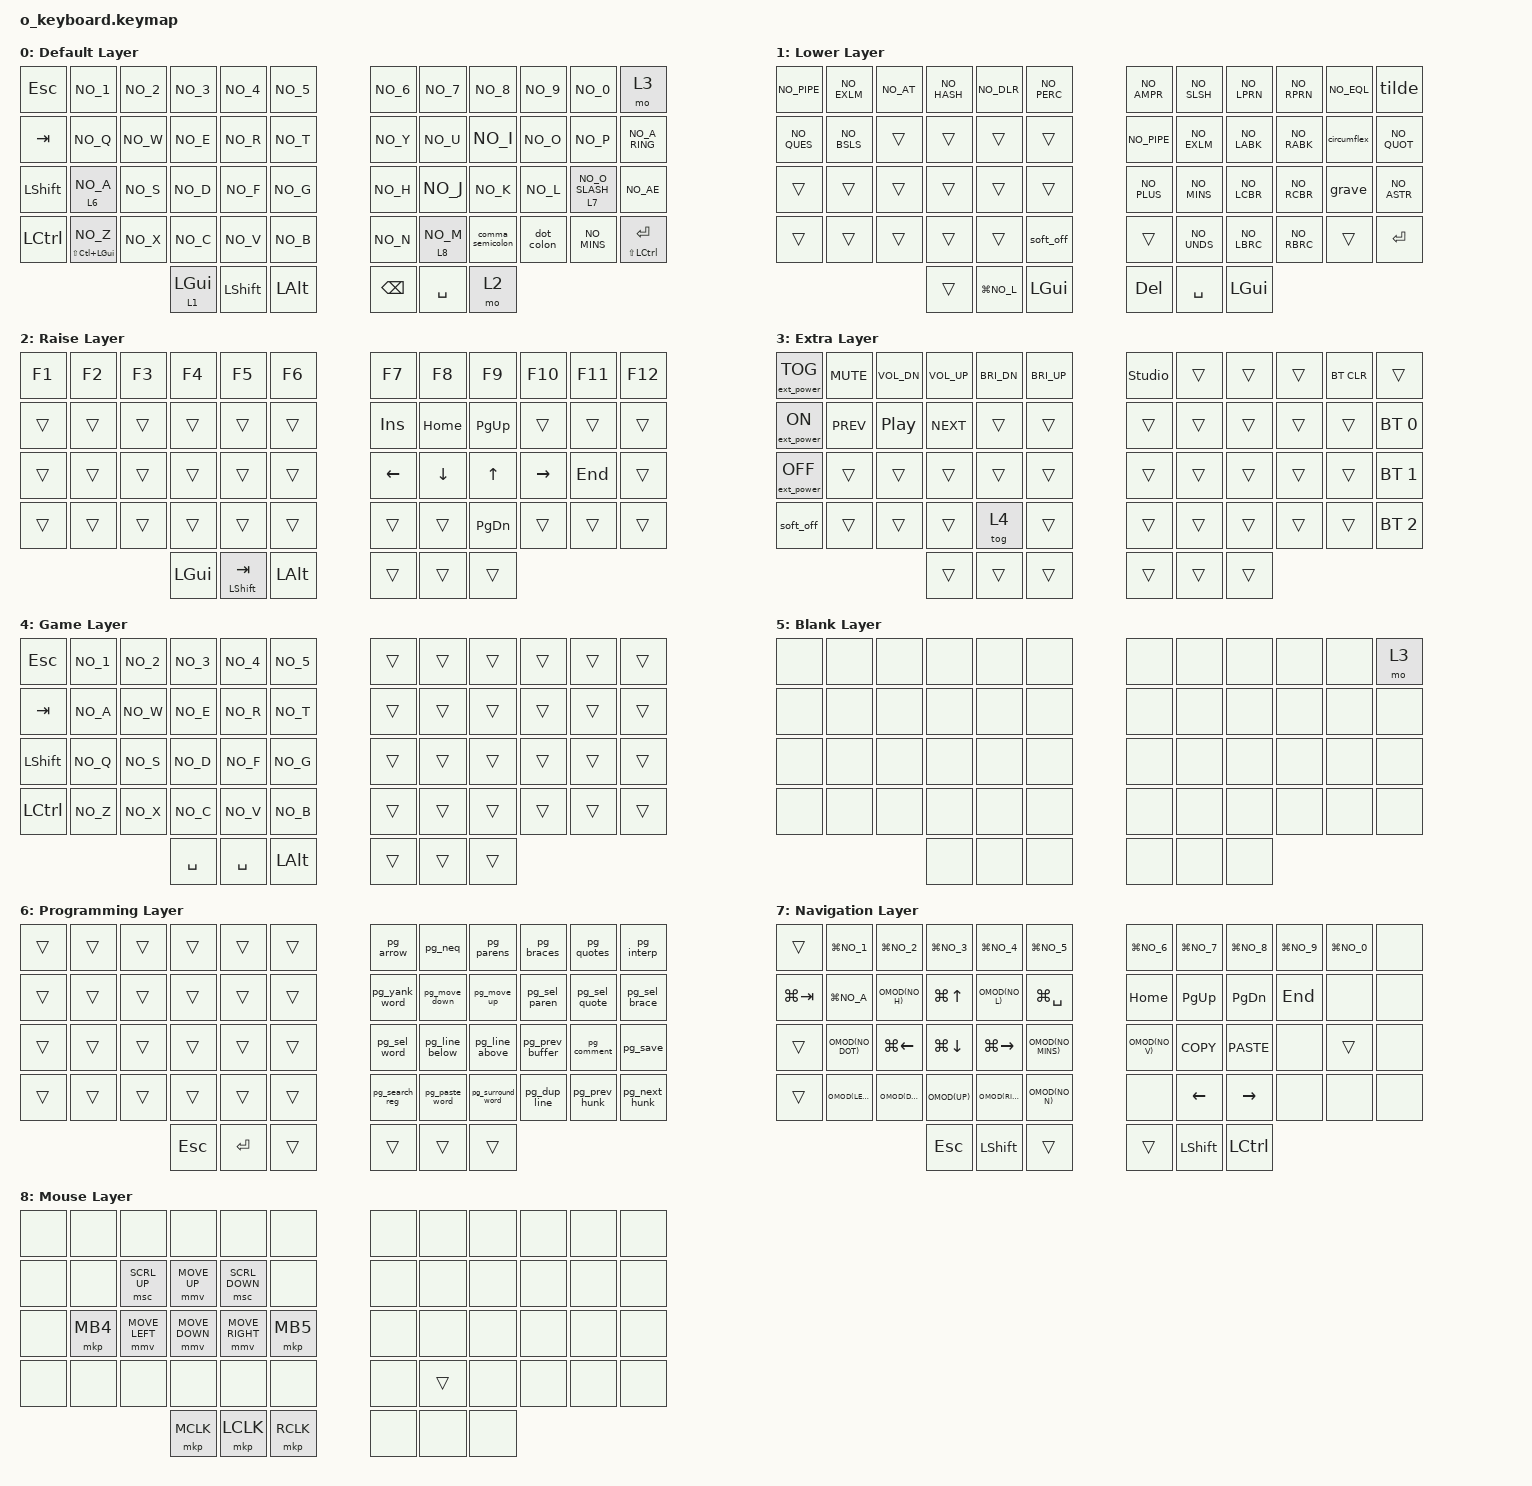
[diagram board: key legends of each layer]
#include <behaviors.dtsi>
#include <behaviors/unicode.dtsi> // For ÆØÅ https://github.com/urob/zmk-unicode?tab=readme-ov-file
#include <dt-bindings/zmk/keys.h>
#include <dt-bindings/zmk/bt.h>
#include <dt-bindings/zmk/ext_power.h>
#include <dt-bindings/zmk/pointing.h>
#include "keymap_norwegian.h"
#include "programming_macros.dtsi"

// Sway's $omod (Super+Shift+Ctrl), used by the navigation layer.
#define OMOD(key) LS(LC(LG(key)))


&soft_off {
    hold-time-ms = <2000>; // Only turn off it the key is held for 2 seconds or longer.
};

/ {
    macros {
        // On the Norwegian layout ~ ^ ` are dead keys: they print nothing until
        // the next keystroke, so these macros tap the accent and then space.
        // Tilde sits on AltGr+¨. The ¨ key is physically the US "]" key, so in
        // raw ZMK keycodes that is RA(RBKT) -- RBKT, not RBRC, because ZMK's
        // RBRC means RIGHT_BRACE and carries an implicit shift (Shift+AltGr+¨
        // is the caron, ˇ).
        tilde: tilde {
            compatible = "zmk,behavior-macro";
            #binding-cells = <0>;
            wait-ms = <30>;
            tap-ms = <30>;
            bindings = <&kp RA(RBKT) &kp SPACE>;
        };
        circumflex: circumflex {
            compatible = "zmk,behavior-macro";
            #binding-cells = <0>;
            wait-ms = <30>;
            tap-ms = <30>;
            bindings = <&kp NO_CIRC &kp SPACE>;
        };
        grave: grave {
            compatible = "zmk,behavior-macro";
            #binding-cells = <0>;
            wait-ms = <30>;
            tap-ms = <30>;
            bindings = <&kp NO_GRV &kp SPACE>;
        };

        // The programming-layer macros (&pg_*) live in programming_macros.dtsi.
    };

    combos {
        compatible = "zmk,combos";
        combo_exit_game {
            timeout-ms = <75>;
            key-positions = <48 50>;
            bindings = <&tog 4>;
            layers = <4>;
        };
        combo_enter_game {
            timeout-ms = <75>;
            key-positions = <29 50>;
            bindings = <&tog 4>;
            layers = <1>;
        };
    };

    behaviors {
        // NOTE: node names here must not match ZMK's built-in behavior nodes
        // (mod_tap, layer_tap, ...). Devicetree merges same-path nodes, so
        // reusing a name silently rewrites &mt / &lt rather than defining a new
        // behavior. The label left of the colon is irrelevant; the node name is
        // what collides.
        //
        // Hold-tap for letter keys: the hold only resolves on the timer (never on
        // an overlapping keypress) and is suppressed right after another key, so
        // rolls and normal typing always produce the letter.
        letter_mod: letter_mod {
            compatible = "zmk,behavior-hold-tap";
            #binding-cells = <2>;
            flavor = "tap-preferred";
            tapping-term-ms = <200>;
            require-prior-idle-ms = <150>;
            bindings = <&kp>, <&kp>;
        };
        // Same guard rails as letter_mod, but the hold enters a layer, and the key
        // must be held a half second before the layer arms. Used for the
        // programming layer on A, the navigation layer on Ø and the mouse layer
        // on M, so fast typing on those common letters cannot trip them.
        slow_layer: slow_layer {
            compatible = "zmk,behavior-hold-tap";
            #binding-cells = <2>;
            flavor = "tap-preferred";
            tapping-term-ms = <500>;
            require-prior-idle-ms = <150>;
            bindings = <&mo>, <&kp>;
        };
        comma_semicolon: comma_semicolon {
            compatible = "zmk,behavior-mod-morph";
            #binding-cells = <0>;
            bindings = <&kp NO_COMM>, <&kp NO_SCLN>;
            mods = <(MOD_LSFT|MOD_RSFT)>;
        };
        dot_colon: dot_colon {
           compatible = "zmk,behavior-mod-morph";
           #binding-cells = <0>;
           bindings = <&kp NO_DOT>, <&kp NO_COLN>;
           mods = <(MOD_LSFT|MOD_RSFT)>;
        };
        /* semi_lock: semi_lock { */
        /*     compatible = "zmk,behavior-mod-morph"; */
        /*     #binding-cells = <0>; */
        /*     bindings = <&kp NO_L>; */
        /*     mods = <(MOD_LGUI)>; */
        /* }; */
    };


    keymap {
        compatible = "zmk,keymap";

        default_layer {
            display-name = "Default Layer";
//        ╭─────────┬─────┬─────┬─────┬─────┬─────╮                              ╭─────┬─────┬─────┬─────┬─────┬───────╮
//        │   ESC   │  1  │  2  │  3  │  4  │  5  │                              │  6  │  7  │  8  │  9  │  0  │ EXTRA │
//        ├─────────┼─────┼─────┼─────┼─────┼─────┤                              ├─────┼─────┼─────┼─────┼─────┼───────┤
//        │   TAB   │  Q  │  W  │  E  │  R  │  T  │                              │  Y  │  U  │  I  │  O  │  P  │   Å   │
//        ├─────────┼─────┼─────┼─────┼─────┼─────┤                              ├─────┼─────┼─────┼─────┼─────┼───────┤
//        │  SHIFT  │  A  │  S  │  D  │  F  │  G  │                              │  H  │  J  │  K  │  L  │  Ø  │   Æ   │
//        │         │PROG │     │     │     │     │                              │     │     │     │     │ NAV │       │
//        ├─────────┼─────┼─────┼─────┼─────┼─────┤                              ├─────┼─────┼─────┼─────┼─────┼───────┤
//        │  CTRL   │  Z  │  X  │  C  │  V  │  B  │                              │  N  │  M  │  ,; │  .: │  -  │ ENTER │
//        │         │CTRL+│     │     │     │     │                              │     │MOUSE│     │     │     │CTRL+  │
//        │         │SHFT+│     │     │     │     │                              │     │     │     │     │     │SHIFT  │
//        │         │ GUI │     │     │     │     │                              │     │     │     │     │     │       │
//        ╰─────────┴─────┴─────┴─────┼─────┼─────┼─────╮                  ╭─────┼─────┼─────┼─────┴─────┴─────┴───────╯
//                                    │LOWER│     │ ALT │                  │BKSPC│SPACE│RAISE│
//                                    │ GUI │SHIFT│     │                  │     │     │     │
//                                    ╰─────┴─────┴─────╯                  ╰─────┴─────┴─────╯
            bindings = <
&kp ESC   &kp NO_1                      &kp NO_2 &kp NO_3   &kp NO_4       &kp NO_5          &kp NO_6      &kp NO_7  &kp NO_8         &kp NO_9   &kp NO_0       &mo 3
&kp TAB   &kp NO_Q                      &kp NO_W &kp NO_E   &kp NO_R       &kp NO_T          &kp NO_Y      &kp NO_U  &kp NO_I         &kp NO_O   &kp NO_P       &kp NO_A_RING
&kp LSHFT &slow_layer 6 NO_A            &kp NO_S &kp NO_D   &kp NO_F       &kp NO_G          &kp NO_H      &kp NO_J  &kp NO_K         &kp NO_L   &slow_layer 7 NO_O_SLASH &kp NO_AE
&kp LCTRL &letter_mod LS(LC(LGUI)) NO_Z &kp NO_X &kp NO_C   &kp NO_V       &kp NO_B          &kp NO_N      &slow_layer 8 NO_M &comma_semicolon &dot_colon &kp NO_MINS    &mt LS(LCTRL) RET
                                                 &lt 1 LGUI &kp LSHIFT     &kp LALT          &kp BACKSPACE &kp SPACE &mo 2
            >;

        };

        lower_layer {
            display-name = "Lower Layer";
//        ╭─────────┬─────┬──────┬──────┬──────┬────────╮                              ╭─────┬─────┬─────┬─────┬─────┬───────╮
//        │    |    │  !  │  @   │  #   │ $    │   %    │                              │  &  │  /  │  (  │  )  │  =  │   ~   │
//        ├─────────┼─────┼──────┼──────┼──────┼────────┤                              ├─────┼─────┼─────┼─────┼─────┼───────┤
//        │    ?    │  \  │      │      │      │        │                              │  |  │  !  │  <  │  >  │  ^  │   '   │
//        ├─────────┼─────┼──────┼──────┼──────┼────────┤                              ├─────┼─────┼─────┼─────┼─────┼───────┤
//        │         │     │      │      │      │(GAME+) │                              │  +  │  -  │  {  │  }  │  `  │   *   │
//        ├─────────┼─────┼──────┼──────┼──────┼────────┤                              ├─────┼─────┼─────┼─────┼─────┼───────┤
//        │         │     │      │      │      │SOFT OFF│                              │     │  _  │  [  │  ]  │     │ ENTER │
//        ╰─────────┴─────┴──────┴──────┼──────┼────────┼───────╮                ╭─────┼─────┼─────┼─────┴─────┴─────┴───────╯
//                                      │      │  LOCK  │(GAME+)│                │ DEL │SPACE│ GUI │
//                                      │      │        │  GUI  │                │     │     │     │
//                                      ╰──────┴────────┴───────╯                ╰─────┴─────┴─────╯
            bindings = <
&kp NO_PIPE &kp NO_EXLM &kp NO_AT &kp NO_HASH &kp NO_DLR   &kp NO_PERC          &kp NO_AMPR &kp NO_SLSH &kp NO_LPRN &kp NO_RPRN &kp NO_EQL  &tilde
&kp NO_QUES &kp NO_BSLS &trans    &trans      &trans       &trans               &kp NO_PIPE &kp NO_EXLM &kp NO_LABK &kp NO_RABK &circumflex &kp NO_QUOT
&trans      &trans      &trans    &trans      &trans       &trans               &kp NO_PLUS &kp NO_MINS &kp NO_LCBR &kp NO_RCBR &grave      &kp NO_ASTR
&trans      &trans      &trans    &trans      &trans       &soft_off            &trans      &kp NO_UNDS &kp NO_LBRC &kp NO_RBRC &trans      &kp RET
                                  &trans      &kp LG(NO_L) &kp LGUI             &kp DELETE  &kp SPACE   &kp LGUI
            >;

        };

        raise_layer {
            display-name = "Raise Layer";
//        ╭─────────┬─────┬─────┬─────┬─────┬─────╮                              ╭─────┬──────┬───────┬─────┬─────┬───────╮
//        │   F1    │ F2  │ F3  │ F4  │ F5  │ F6  │                              │ F7  │  F8  │  F9   │ F10 │ F11 │  F12  │
//        ├─────────┼─────┼─────┼─────┼─────┼─────┤                              ├─────┼──────┼───────┼─────┼─────┼───────┤
//        │         │     │     │     │     │     │                              │ INS │ HOME │ PG_UP │     │     │       │
//        ├─────────┼─────┼─────┼─────┼─────┼─────┤                              ├─────┼──────┼───────┼─────┼─────┼───────┤
//        │         │     │     │     │     │     │                              │  ←  │  ↓   │  ↑    │  →  │ END │       │
//        ├─────────┼─────┼─────┼─────┼─────┼─────┤                              ├─────┼──────┼───────┼─────┼─────┼───────┤
//        │         │     │     │     │     │     │                              │     │      │ PG_DN │     │     │       │
//        ╰─────────┴─────┴─────┴─────┼─────┼─────┼─────╮                  ╭─────┼─────┼──────┼───────┴─────┴─────┴───────╯
//                                    │ GUI │ TAB │ ALT │                  │     │     │      │
//                                    │     │SHIFT│     │                  │     │     │      │
//                                    ╰─────┴─────┴─────╯                  ╰─────┴─────┴──────╯
            bindings = <
&kp F1 &kp F2 &kp F3 &kp F4   &kp F5         &kp F6            &kp F7   &kp F8   &kp F9    &kp F10   &kp F11 &kp F12
&trans &trans &trans &trans   &trans         &trans            &kp INS  &kp HOME &kp PG_UP &trans    &trans  &trans
&trans &trans &trans &trans   &trans         &trans            &kp LEFT &kp DOWN &kp UP    &kp RIGHT &kp END &trans
&trans &trans &trans &trans   &trans         &trans            &trans   &trans   &kp PG_DN &trans    &trans  &trans
                     &kp LGUI &mt LSHIFT TAB &kp LALT          &trans   &trans   &trans
            >;

        };

        extra_layer {
            display-name = "Extra Layer";
//        ╭──────────────┬──────┬──────────┬──────────┬────────┬────────╮                              ╭────────┬─────┬─────┬─────┬──────────┬───────╮
//        │ POWER TOGGLE │ MUTE │ VOL DOWN │  VOL UP  │ BRI DN │ BRI UP │                              │ STUDIO │     │     │     │ BT CLEAR │       │
//        │              │      │          │          │        │        │                              │ UNLOCK │     │     │     │          │       │
//        ├──────────────┼──────┼──────────┼──────────┼────────┼────────┤                              ├────────┼─────┼─────┼─────┼──────────┼───────┤
//        │  POWER ON    │ PREV │   PLAY   │   NEXT   │        │        │                              │        │     │     │     │          │  BT0  │
//        │              │      │  PAUSE   │          │        │        │                              │        │     │     │     │          │       │
//        ├──────────────┼──────┼──────────┼──────────┼────────┼────────┤                              ├────────┼─────┼─────┼─────┼──────────┼───────┤
//        │  POWER OFF   │      │          │          │        │        │                              │        │     │     │     │          │  BT1  │
//        ├──────────────┼──────┼──────────┼──────────┼────────┼────────┤                              ├────────┼─────┼─────┼─────┼──────────┼───────┤
//        │  SOFT OFF    │      │          │          │  GAME  │        │                              │        │     │     │     │          │  BT2  │
//        ╰──────────────┴──────┴──────────┴──────────┼────────┼────────┼─────╮                  ╭─────┼────────┼─────┼─────┴─────┴──────────┴───────╯
//                                                    │        │        │     │                  │     │        │     │
//                                                    ╰────────┴────────┴─────╯                  ╰─────┴────────┴─────╯
            bindings = <
&ext_power EP_TOG &kp C_MUTE &kp C_VOL_DN     &kp C_VOL_UP &kp C_BRI_DN &kp C_BRI_UP          &studio_unlock &trans &trans &trans &bt BT_CLR &trans
&ext_power EP_ON  &kp C_PREV &kp C_PLAY_PAUSE &kp C_NEXT   &trans       &trans                &trans         &trans &trans &trans &trans     &bt BT_SEL 0
&ext_power EP_OFF &trans     &trans           &trans       &trans       &trans                &trans         &trans &trans &trans &trans     &bt BT_SEL 1
&soft_off         &trans     &trans           &trans       &tog 4       &trans                &trans         &trans &trans &trans &trans     &bt BT_SEL 2
                                              &trans       &trans       &trans                &trans         &trans &trans
            >;

        };

        game_layer {
            display-name = "Game Layer";
//        ╭─────────┬─────┬─────┬─────┬─────┬─────╮                              ╭─────┬─────┬─────┬─────┬─────┬───────╮
//        │   ESC   │  1  │  2  │  3  │  4  │  5  │                              │     │     │     │     │     │       │
//        ├─────────┼─────┼─────┼─────┼─────┼─────┤                              ├─────┼─────┼─────┼─────┼─────┼───────┤
//        │   TAB   │  A  │  W  │  E  │  R  │  T  │                              │     │     │     │     │     │       │
//        ├─────────┼─────┼─────┼─────┼─────┼─────┤                              ├─────┼─────┼─────┼─────┼─────┼───────┤
//        │  SHIFT  │  Q  │  S  │  D  │  F  │  G  │                              │     │     │     │     │     │       │
//        ├─────────┼─────┼─────┼─────┼─────┼─────┤                              ├─────┼─────┼─────┼─────┼─────┼───────┤
//        │  CTRL   │  Z  │  X  │  C  │  V  │  B  │                              │     │     │     │     │     │       │
//        ╰─────────┴─────┴─────┴─────┼─────┼─────┼─────╮                  ╭─────┼─────┼─────┼─────┴─────┴─────┴───────╯
//                                    │EXIT+│ SPC │EXIT+│                  │     │     │     │
//                                    │ SPC │     │ ALT │                  │     │     │     │
//                                    ╰─────┴─────┴─────╯                  ╰─────┴─────┴─────╯
            bindings = <
&kp ESC   &kp NO_1 &kp NO_2 &kp NO_3  &kp NO_4  &kp NO_5          &trans &trans &trans &trans &trans &trans
&kp TAB   &kp NO_A &kp NO_W &kp NO_E  &kp NO_R  &kp NO_T          &trans &trans &trans &trans &trans &trans
&kp LSHFT &kp NO_Q &kp NO_S &kp NO_D  &kp NO_F  &kp NO_G          &trans &trans &trans &trans &trans &trans
&kp LCTRL &kp NO_Z &kp NO_X &kp NO_C  &kp NO_V  &kp NO_B          &trans &trans &trans &trans &trans &trans
                            &kp SPACE &kp SPACE &kp LALT          &trans &trans &trans
            >;

        };

        blank_layer {
            display-name = "Blank Layer";
//        ╭─────────┬─────┬─────┬─────┬─────┬─────╮                              ╭─────┬─────┬─────┬─────┬─────┬───────╮
//        │         │     │     │     │     │     │                              │     │     │     │     │     │       │
//        ├─────────┼─────┼─────┼─────┼─────┼─────┤                              ├─────┼─────┼─────┼─────┼─────┼───────┤
//        │         │     │     │     │     │     │                              │     │     │     │     │     │       │
//        ├─────────┼─────┼─────┼─────┼─────┼─────┤                              ├─────┼─────┼─────┼─────┼─────┼───────┤
//        │         │     │     │     │     │     │                              │     │     │     │     │     │       │
//        ├─────────┼─────┼─────┼─────┼─────┼─────┤                              ├─────┼─────┼─────┼─────┼─────┼───────┤
//        │         │     │     │     │     │     │                              │     │     │     │     │     │       │
//        ╰─────────┴─────┴─────┴─────┼─────┼─────┼─────╮                  ╭─────┼─────┼─────┼─────┴─────┴─────┴───────╯
//                                    │     │     │     │                  │     │     │     │
//                                    ╰─────┴─────┴─────╯                  ╰─────┴─────┴─────╯
            bindings = <
&none &none &none &none &none &none          &none &none &none &none &none &mo 3
&none &none &none &none &none &none          &none &none &none &none &none &none
&none &none &none &none &none &none          &none &none &none &none &none &none
&none &none &none &none &none &none          &none &none &none &none &none &none
                  &none &none &none          &none &none &none
            >;

        };

        programming_layer {
            display-name = "Programming Layer";
//        ╭─────────┬─────┬─────┬─────┬─────┬─────╮                              ╭──────┬──────┬──────┬──────┬──────┬───────╮
//        │         │     │     │     │     │     │                              │  =>  │ !==  │  ()  │  {}  │  ""  │  ${}  │
//        ├─────────┼─────┼─────┼─────┼─────┼─────┤                              ├──────┼──────┼──────┼──────┼──────┼───────┤
//        │         │     │     │     │     │     │                              │ yiw  │ ddp  │ ddkP │ vi(  │ vi"  │  vi{  │
//        │         │     │     │     │     │     │                              │ yank │ line │ line │      │      │       │
//        │         │     │     │     │     │     │                              │ word │ down │  up  │      │      │       │
//        ├─────────┼─────┼─────┼─────┼─────┼─────┤                              ├──────┼──────┼──────┼──────┼──────┼───────┤
//        │         │HOLD │     │     │     │     │                              │ viw  │ o␛k  │ O␛j  │ ␣,⏎  │ gcc  │ :wall⏎│
//        │         │ ME  │     │     │     │     │                              │ sel  │blank │blank │ prev │ comm │ save  │
//        │         │     │     │     │     │     │                              │ word │below │above │buffer│ line │  all  │
//        ├─────────┼─────┼─────┼─────┼─────┼─────┤                              ├──────┼──────┼──────┼──────┼──────┼───────┤
//        │         │     │     │     │     │     │                              │ /⌃r"⏎│ viwP │ gsaiw│ yyp  │  [h  │  ]h   │
//        │         │     │     │     │     │     │                              │search│ paste│surrnd│ dupe │ prev │ next  │
//        │         │     │     │     │     │     │                              │ reg  │ over │ word │ line │ hunk │ hunk  │
//        ╰─────────┴─────┴─────┴─────┼─────┼─────┼─────╮                  ╭─────┼──────┼──────┼──────┴──────┴──────┴───────╯
//                                    │ ESC │ENTER│     │                  │     │      │      │
//                                    ╰─────┴─────┴─────╯                  ╰─────┴──────┴──────╯
            bindings = <
&trans &trans &trans &trans &trans &trans          &pg_arrow      &pg_neq        &pg_parens        &pg_braces      &pg_quotes    &pg_interp
&trans &trans &trans &trans &trans &trans          &pg_yank_word  &pg_move_down  &pg_move_up       &pg_sel_paren   &pg_sel_quote &pg_sel_brace
&trans &trans &trans &trans &trans &trans          &pg_sel_word   &pg_line_below &pg_line_above    &pg_prev_buffer &pg_comment   &pg_save
&trans &trans &trans &trans &trans &trans          &pg_search_reg &pg_paste_word &pg_surround_word &pg_dup_line    &pg_prev_hunk &pg_next_hunk
                     &kp ESC &kp RET &trans          &trans         &trans         &trans
            >;

        };

        navigation_layer {
            display-name = "Navigation Layer";
// Sway window manager navigation. The Shift and Alt thumbs turn these into
// sway's "move" variants:
//   + SHIFT: move the window instead of focusing it, send the window to
//            workspace N instead of switching, and FLOAT toggles floating.
//   + ALT:   WS PREV / WS NEXT carry the window along to that workspace.
// The right half adds text editing; with Shift, HOME/END/PG_UP/PG_DN select.
//        ╭─────────┬─────┬─────┬─────┬─────┬─────╮                              ╭─────┬─────┬─────┬─────┬─────┬───────╮
//        │         │ WS1 │ WS2 │ WS3 │ WS4 │ WS5 │                              │ WS6 │ WS7 │ WS8 │ WS9 │WS10 │       │
//        ├─────────┼─────┼─────┼─────┼─────┼─────┤                              ├─────┼─────┼─────┼─────┼─────┼───────┤
//        │ WINDOW  │FOCUS│ WS  │FOCUS│ WS  │FOCUS│                              │     │     │     │     │     │       │
//        │SWITCHER │PRNT │PREV │  ↑  │NEXT │FLOAT│                              │HOME │PG_UP│PG_DN│ END │     │       │
//        ├─────────┼─────┼─────┼─────┼─────┼─────┤                              ├─────┼─────┼─────┼─────┼─────┼───────┤
//        │  SHIFT  │SCRCH│FOCUS│FOCUS│FOCUS│SCRCH│                              │CLIP │COPY │PASTE│     │HOLD │       │
//        │         │SHOW │  ←  │  ↓  │  →  │STASH│                              │HIST │     │     │     │ ME  │       │
//        ├─────────┼─────┼─────┼─────┼─────┼─────┤                              ├─────┼─────┼─────┼─────┼─────┼───────┤
//        │         │WS TO│WS TO│WS TO│WS TO│ NEW │                              │     │  ←  │  →  │     │     │       │
//        │         │OUT ←│OUT ↓│OUT ↑│OUT →│ WS  │                              │     │     │     │     │     │       │
//        ╰─────────┴─────┴─────┴─────┼─────┼─────┼─────╮                  ╭─────┼─────┼─────┼─────┴─────┴─────┴───────╯
//                                    │ ESC │SHIFT│ ALT │                  │     │SHIFT│CTRL │
//                                    ╰─────┴─────┴─────╯                  ╰─────┴─────┴─────╯
            bindings = <
&trans      &kp LG(NO_1)      &kp LG(NO_2)    &kp LG(NO_3) &kp LG(NO_4)    &kp LG(NO_5)            &kp LG(NO_6)   &kp LG(NO_7)     &kp LG(NO_8)     &kp LG(NO_9) &kp LG(NO_0) &none
&kp LG(TAB) &kp LG(NO_A)      &kp OMOD(NO_H)  &kp LG(UP)   &kp OMOD(NO_L)  &kp LG(SPACE)           &kp HOME       &kp PG_UP        &kp PG_DN        &kp END      &none        &none
&trans      &kp OMOD(NO_DOT)  &kp LG(LEFT)    &kp LG(DOWN) &kp LG(RIGHT)   &kp OMOD(NO_MINS)       &kp OMOD(NO_V) &kp K_COPY       &kp K_PASTE &none        &trans       &none
&trans      &kp OMOD(LEFT)    &kp OMOD(DOWN)  &kp OMOD(UP) &kp OMOD(RIGHT) &kp OMOD(NO_N)          &none          &kp LEFT         &kp RIGHT        &none        &none        &none
                                              &kp ESC      &kp LSHFT       &trans                  &trans         &kp LSHFT        &kp LCTRL
            >;

        };

        mouse_layer {
            display-name = "Mouse Layer";
//        ╭─────────┬─────┬─────┬─────┬─────┬─────╮                              ╭─────┬─────┬─────┬─────┬─────┬───────╮
//        │         │     │     │     │     │     │                              │     │     │     │     │     │       │
//        ├─────────┼─────┼─────┼─────┼─────┼─────┤                              ├─────┼─────┼─────┼─────┼─────┼───────┤
//        │         │     │SCRL │MOVE │SCRL │     │                              │     │     │     │     │     │       │
//        │         │     │  ↑  │  ↑  │  ↓  │     │                              │     │     │     │     │     │       │
//        ├─────────┼─────┼─────┼─────┼─────┼─────┤                              ├─────┼─────┼─────┼─────┼─────┼───────┤
//        │         │ MB4 │MOVE │MOVE │MOVE │ MB5 │                              │     │     │     │     │     │       │
//        │         │BACK │  ←  │  ↓  │  →  │FRWD │                              │     │     │     │     │     │       │
//        ├─────────┼─────┼─────┼─────┼─────┼─────┤                              ├─────┼─────┼─────┼─────┼─────┼───────┤
//        │         │     │     │     │     │     │                              │     │HOLD │     │     │     │       │
//        │         │     │     │     │     │     │                              │     │ ME  │     │     │     │       │
//        ╰─────────┴─────┴─────┴─────┼─────┼─────┼─────╮                  ╭─────┼─────┼─────┼─────┴─────┴─────┴───────╯
//                                    │MID  │LEFT │RIGHT│                  │     │     │     │
//                                    │CLICK│CLICK│CLICK│                  │     │     │     │
//                                    ╰─────┴─────┴─────╯                  ╰─────┴─────┴─────╯
            bindings = <
&none  &none  &none          &none          &none           &none           &none  &none  &none  &none  &none  &none
&none  &none  &msc SCRL_UP   &mmv MOVE_UP   &msc SCRL_DOWN  &none           &none  &none  &none  &none  &none  &none
&none  &mkp MB4 &mmv MOVE_LEFT &mmv MOVE_DOWN &mmv MOVE_RIGHT &mkp MB5      &none  &none  &none  &none  &none  &none
&none  &none  &none          &none          &none           &none           &none  &trans &none  &none  &none  &none
                             &mkp MCLK      &mkp LCLK       &mkp RCLK       &none  &none  &none
            >;

        };
    };
};
